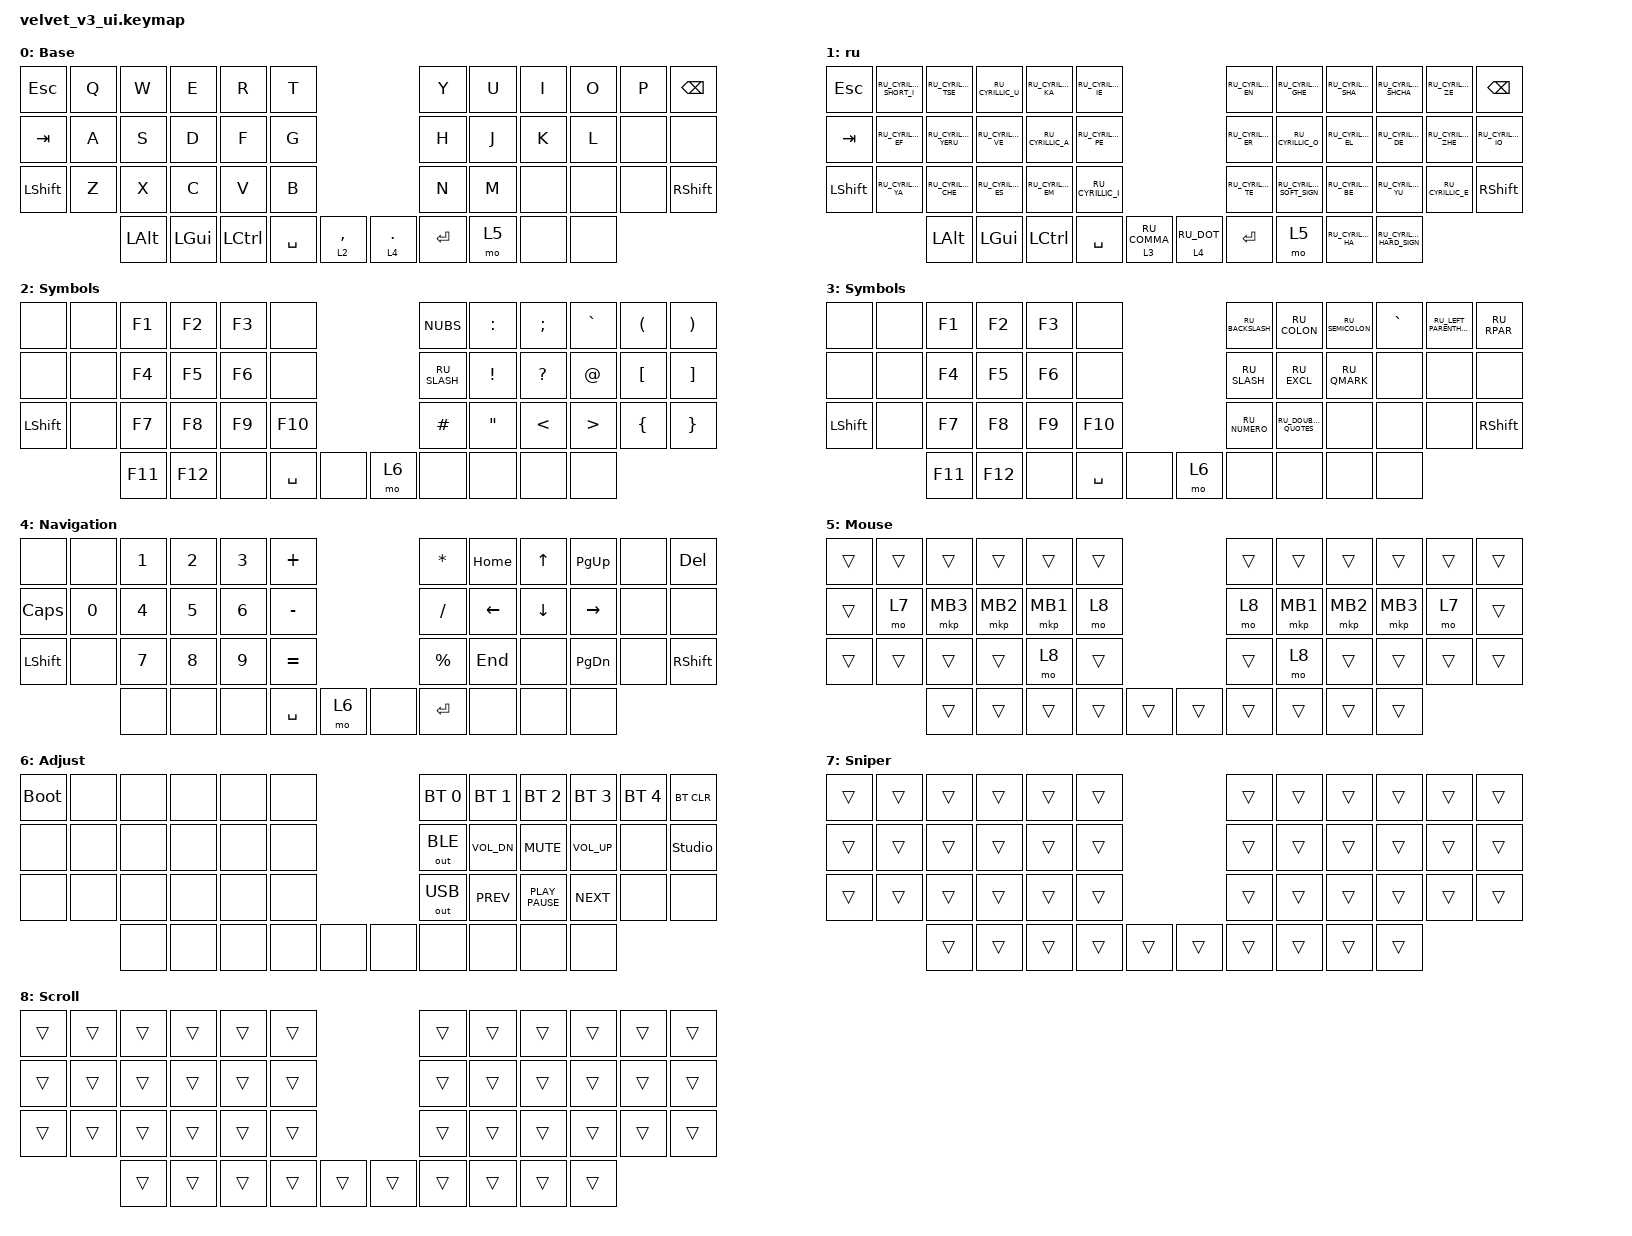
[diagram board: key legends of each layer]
#include "keys_ru.h"
#include <dt-bindings/zmk/input_transform.h>
#include <input/processors.dtsi>
#include <zephyr/dt-bindings/input/input-event-codes.h>
#include <behaviors.dtsi>
#include <dt-bindings/zmk/bt.h>
#include <dt-bindings/zmk/keys.h>
#include <dt-bindings/zmk/outputs.h>
#include <dt-bindings/zmk/pointing.h>

/ {
    behaviors {
        cap_sen: cap_sen {
            compatible = "zmk,behavior-hold-tap";
            label = "CAP_SEN";
            bindings = <&mo>;
            #binding-cells = <2>;
            tapping-term-ms = <150>;
            hold-while-undecided;
        };
    };

    combos {
        compatible = "zmk,combos";

        layerRu {
            bindings = <&layerRU>;
            key-positions = <4 3>;
        };

        layerEn {
            bindings = <&layerEn>;
            key-positions = <7 8>;
        };

        ctrl_alt_del {
            bindings = <&ctrl_alt_del>;
            key-positions = <15 20>;
        };

        password {
            bindings = <&password>;
            key-positions = <16 19>;
        };

        ruEnSystem {
            bindings = <&ruEn_shift_ctrl>;
            key-positions = <7 4>;
        };
    };

    macros {
        ruEn_shift_alt: ruen {
            compatible = "zmk,behavior-macro";
            #binding-cells = <0>;
            bindings = <&kp LS(LEFT_ALT)>;
            label = "RUEN";
        };

        ruEn_shift_ctrl: ruEn_shift_ctrl {
            compatible = "zmk,behavior-macro";
            #binding-cells = <0>;
            bindings = <&kp LS(LCTRL)>;
            label = "RUEN_SHIFT_CTRL";
        };

        ctrl_alt_del: ctrl_alt_del {
            compatible = "zmk,behavior-macro";
            #binding-cells = <0>;
            bindings = <&kp LC(LA(DELETE))>;
            label = "CTRL_ALT_DEL";
        };

        password: password {
            compatible = "zmk,behavior-macro";
            #binding-cells = <0>;
            bindings = <&none &kp LS(A) &kp N &kp A &kp N &kp A &kp S &kp N4 &kp N6 &kp N1 &kp N3 &kp N3 &kp N7 &kp N4 &kp EXCL>;
            label = "PASSWORD";
        };

        layerRU: layerRU {
            compatible = "zmk,behavior-macro";
            #binding-cells = <0>;
            bindings = <&ruEn_shift_ctrl &to 1>;
            label = "LAYERRU";
        };

        layerEn: layerEn {
            compatible = "zmk,behavior-macro";
            #binding-cells = <0>;
            bindings = <&ruEn_shift_ctrl &to 0>;
            label = "LAYEREN";
        };
    };

    keymap {
        compatible = "zmk,keymap";

        base {
            bindings = <
&kp ESC    &kp Q  &kp W     &kp E     &kp R             &kp T                                &kp Y      &kp U  &kp I  &kp O  &kp P  &kp BSPC
&kp TAB    &kp A  &kp S     &kp D     &kp F             &kp G                                &kp H      &kp J  &kp K  &kp L  &none  &none
&kp LSHFT  &kp Z  &kp X     &kp C     &kp V             &kp B                                &kp N      &kp M  &none  &none  &none  &kp RSHFT
                  &kp LALT  &kp LGUI  &kp LEFT_CONTROL  &kp SPACE  &lt 2 COMMA    &lt 4 DOT  &kp ENTER  &mo 5  &none  &none
            >;

            display-name = "Base";
        };

        ru {
            bindings = <
&kp ESC         &kp RU_CYRILLIC_SHORT_I  &kp RU_CYRILLIC_TSE   &kp RU_CYRILLIC_U   &kp RU_CYRILLIC_KA  &kp RU_CYRILLIC_IE                                  &kp RU_CYRILLIC_EN  &kp RU_CYRILLIC_GHE        &kp RU_CYRILLIC_SHA  &kp RU_CYRILLIC_SHCHA      &kp RU_CYRILLIC_ZE   &kp BSPC
&kp TAB         &kp RU_CYRILLIC_EF       &kp RU_CYRILLIC_YERU  &kp RU_CYRILLIC_VE  &kp RU_CYRILLIC_A   &kp RU_CYRILLIC_PE                                  &kp RU_CYRILLIC_ER  &kp RU_CYRILLIC_O          &kp RU_CYRILLIC_EL   &kp RU_CYRILLIC_DE         &kp RU_CYRILLIC_ZHE  &kp RU_CYRILLIC_IO
&kp LEFT_SHIFT  &kp RU_CYRILLIC_YA       &kp RU_CYRILLIC_CHE   &kp RU_CYRILLIC_ES  &kp RU_CYRILLIC_EM  &kp RU_CYRILLIC_I                                   &kp RU_CYRILLIC_TE  &kp RU_CYRILLIC_SOFT_SIGN  &kp RU_CYRILLIC_BE   &kp RU_CYRILLIC_YU         &kp RU_CYRILLIC_E    &kp RIGHT_SHIFT
                                         &kp LALT              &kp LEFT_GUI        &kp LCTRL           &kp SPACE           &lt 3 RU_COMMA    &lt 4 RU_DOT  &kp ENTER           &mo 5                      &kp RU_CYRILLIC_HA   &kp RU_CYRILLIC_HARD_SIGN
            >;

            display-name = "ru";
        };

        sym {
            bindings = <
&none           &none  &kp F1   &kp F2   &kp F3  &none                      &kp NUBS      &kp COLON          &kp SEMI       &kp GRAVE         &kp LPAR          &kp RIGHT_PARENTHESIS
&none           &none  &kp F4   &kp F5   &kp F6  &none                      &kp RU_SLASH  &kp EXCL           &kp QMARK      &kp AT_SIGN       &kp LEFT_BRACKET  &kp RIGHT_BRACKET
&kp LEFT_SHIFT  &none  &kp F7   &kp F8   &kp F9  &kp F10                    &kp HASH      &kp DOUBLE_QUOTES  &kp LESS_THAN  &kp GREATER_THAN  &kp LEFT_BRACE    &kp RIGHT_BRACE
                       &kp F11  &kp F12  &none   &kp SPACE  &none    &mo 6  &none         &none              &none          &none
            >;

            display-name = "Symbols";
        };

        ruSymbol {
            display-name = "Symbols";
            bindings = <
&none           &none  &kp F1   &kp F2   &kp F3  &none                      &kp RU_BACKSLASH  &kp RU_COLON          &kp RU_SEMICOLON  &kp GRAVE  &kp RU_LEFT_PARENTHESIS  &kp RU_RPAR
&none           &none  &kp F4   &kp F5   &kp F6  &none                      &kp RU_SLASH      &kp RU_EXCL           &kp RU_QMARK      &none      &none                    &none
&kp LEFT_SHIFT  &none  &kp F7   &kp F8   &kp F9  &kp F10                    &kp RU_NUMERO     &kp RU_DOUBLE_QUOTES  &none             &none      &none                    &kp RIGHT_SHIFT
                       &kp F11  &kp F12  &none   &kp SPACE  &none    &mo 6  &none             &none                 &none             &none
            >;
        };

        nav {
            bindings = <
&none           &none         &kp NUMBER_1  &kp NUMBER_2  &kp NUMBER_3  &kp PLUS                   &kp ASTRK  &kp HOME  &kp UP    &kp PG_UP        &none  &kp DELETE
&kp CAPSLOCK    &kp NUMBER_0  &kp NUMBER_4  &kp NUMBER_5  &kp NUMBER_6  &kp MINUS                  &kp FSLH   &kp LEFT  &kp DOWN  &kp RIGHT_ARROW  &none  &none
&kp LEFT_SHIFT  &none         &kp NUMBER_7  &kp NUMBER_8  &kp NUMBER_9  &kp EQUAL                  &kp PRCNT  &kp END   &none     &kp PG_DN        &none  &kp RIGHT_SHIFT
                              &none         &none         &none         &kp SPACE  &mo 6    &none  &kp ENTER  &none     &none     &none
            >;

            display-name = "Navigation";
        };

        mouse {
            bindings = <
&trans  &trans  &trans    &trans    &trans    &trans                    &trans  &trans    &trans    &trans    &trans  &trans
&trans  &mo 7   &mkp MB3  &mkp MB2  &mkp MB1  &mo 8                     &mo 8   &mkp MB1  &mkp MB2  &mkp MB3  &mo 7   &trans
&trans  &trans  &trans    &trans    &mo 8     &trans                    &trans  &mo 8     &trans    &trans    &trans  &trans
                &trans    &trans    &trans    &trans  &trans    &trans  &trans  &trans    &trans    &trans
            >;

            display-name = "Mouse";
        };

        adj {
            bindings = <
&bootloader  &none  &none  &none  &none  &none                  &bt BT_SEL 0  &bt BT_SEL 1  &bt BT_SEL 2      &bt BT_SEL 3  &bt BT_SEL 4  &bt BT_CLR
&none        &none  &none  &none  &none  &none                  &out OUT_BLE  &kp C_VOL_DN  &kp K_MUTE        &kp C_VOL_UP  &none         &studio_unlock
&none        &none  &none  &none  &none  &none                  &out OUT_USB  &kp K_PREV    &kp K_PLAY_PAUSE  &kp K_NEXT    &none         &none
                    &none  &none  &none  &none  &none    &none  &none         &none         &none             &none
            >;

            display-name = "Adjust";
        };

        sniper {
            bindings = <
&trans  &trans  &trans  &trans  &trans  &trans                    &trans  &trans  &trans  &trans  &trans  &trans
&trans  &trans  &trans  &trans  &trans  &trans                    &trans  &trans  &trans  &trans  &trans  &trans
&trans  &trans  &trans  &trans  &trans  &trans                    &trans  &trans  &trans  &trans  &trans  &trans
                &trans  &trans  &trans  &trans  &trans    &trans  &trans  &trans  &trans  &trans
            >;

            display-name = "Sniper";
        };

        scroll {
            bindings = <
&trans  &trans  &trans  &trans  &trans  &trans                    &trans  &trans  &trans  &trans  &trans  &trans
&trans  &trans  &trans  &trans  &trans  &trans                    &trans  &trans  &trans  &trans  &trans  &trans
&trans  &trans  &trans  &trans  &trans  &trans                    &trans  &trans  &trans  &trans  &trans  &trans
                &trans  &trans  &trans  &trans  &trans    &trans  &trans  &trans  &trans  &trans
            >;

            display-name = "Scroll";
        };
    };
};

&trackball { cpi = <1200>; };

&trackball_listener {
    input-processors = <&zip_xy_scaler 9 20>;

    scroller {
        layers = <5>;
        input-processors =
            <&zip_xy_transform INPUT_TRANSFORM_Y_INVERT>,
            <&zip_xy_scaler 1 32>,
            <&zip_xy_to_scroll_mapper>;
    };

    sniper {
        layers = <6>;
        input-processors = <&zip_xy_scaler 1 4>;
    };
};
